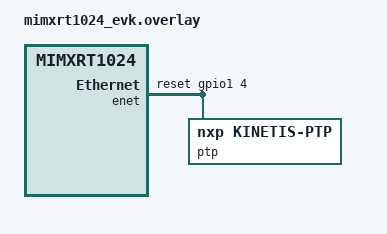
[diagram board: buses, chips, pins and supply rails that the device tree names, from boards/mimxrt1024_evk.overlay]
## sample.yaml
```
sample:
  description: Block upload Test
  name: block_upload_test
common:
  harness: pytest
  tags:
    - golioth
    - socket
    - goliothd
tests:
  sample.golioth.block_upload_test:
    timeout: 180
    extra_args: EXTRA_CONF_FILE="../common/runtime_settings.conf"
    extra_configs:
      - CONFIG_SHELL_BACKEND_SERIAL_RX_RING_BUFFER_SIZE=128
      - CONFIG_SHELL_DEFAULT_TERMINAL_WIDTH=100
      - CONFIG_GOLIOTH_SAMPLE_NRF91_RESET_LOOP_OVERRIDE=y
      - arch:posix:CONFIG_NATIVE_UART_0_ON_STDINOUT=y
      - arch:posix:CONFIG_LOG_BACKEND_NATIVE_POSIX=n
    platform_allow:
      - esp32_devkitc_wrover/esp32/procpu
      - mimxrt1024_evk
      - native_sim
      - native_sim/native/64
      - nrf52840dk/nrf52840
      - nrf9160dk/nrf9160/ns
      - rak5010/nrf52840
      - qemu_x86
```

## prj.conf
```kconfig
# Application
CONFIG_GOLIOTH_SAMPLE_COMMON=y
CONFIG_GOLIOTH_SAMPLE_HARDCODED_CREDENTIALS=y

# Golioth Firmware SDK with all dependencies
CONFIG_GOLIOTH_FIRMWARE_SDK=y
CONFIG_GOLIOTH_STREAM=y

#CONFIG_GOLIOTH_COAP_HOST_URI="coaps://192.168.1.105"

#CONFIG_GOLIOTH_SAMPLE_PSK_ID="test@local"
#CONFIG_GOLIOTH_SAMPLE_PSK="test"
```

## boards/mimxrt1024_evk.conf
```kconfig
CONFIG_GOLIOTH_SAMPLE_DHCP_BIND=y
CONFIG_NET_L2_ETHERNET=y
CONFIG_NET_DHCPV4=y
CONFIG_BUILD_OUTPUT_HEX=y

# Old deprecated driver
CONFIG_ETH_MCUX=y
```

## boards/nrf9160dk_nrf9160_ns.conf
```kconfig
# General config
CONFIG_HEAP_MEM_POOL_SIZE=4096
CONFIG_NEWLIB_LIBC=y

# Networking
CONFIG_NET_SOCKETS_OFFLOAD=y
CONFIG_NET_IPV6=y
CONFIG_NET_IPV6_NBR_CACHE=n
CONFIG_NET_IPV6_MLD=n

# Increase native TLS socket implementation, so that it is chosen instead of
# offloaded nRF91 sockets
CONFIG_NET_SOCKETS_TLS_PRIORITY=35

# Modem library
CONFIG_NRF_MODEM_LIB=y
CONFIG_NRF_MODEM_LIB_ON_FAULT_APPLICATION_SPECIFIC=y

# LTE connectivity with network connection manager
CONFIG_NRF_MODEM_LIB_NET_IF=y
CONFIG_NRF_MODEM_LIB_NET_IF_AUTO_START=y
CONFIG_NRF_MODEM_LIB_NET_IF_AUTO_CONNECT=y
CONFIG_NET_CONNECTION_MANAGER=y
CONFIG_NET_CONNECTION_MANAGER_MONITOR_STACK_SIZE=1024

# Increased sysworkq size, due to LTE connectivity
CONFIG_SYSTEM_WORKQUEUE_STACK_SIZE=2048

# Disable options y-selected by NCS for no good reason
CONFIG_MBEDTLS_KEY_EXCHANGE_DHE_PSK_ENABLED=n
CONFIG_MBEDTLS_KEY_EXCHANGE_DHE_RSA_ENABLED=n

# Generate MCUboot compatible images
CONFIG_BOOTLOADER_MCUBOOT=y
```

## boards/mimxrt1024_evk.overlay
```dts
&enet {
	compatible = "nxp,kinetis-ethernet";
	reg = <0x402D8000 0x628>;
	interrupts = <114 0>;
	interrupt-names = "COMMON";
	pinctrl-0 = <&pinmux_enet>;
	pinctrl-names = "default";
	int-gpios = <&gpio1 22 GPIO_ACTIVE_HIGH>;
	reset-gpios = <&gpio1 4 GPIO_ACTIVE_HIGH>;
	status = "okay";
	phy-addr = <0>;
	ptp: ptp {
		compatible = "nxp,kinetis-ptp";
		status = "okay";
		interrupts = <115 0>;
		interrupt-names = "IEEE1588_TMR";
		pinctrl-0 = <&pinmux_ptp>;
		pinctrl-names = "default";
	};
};

/* Note: USER_LED conflicts with ENET_RST */
&pinmux_enet {
	/delete-node/ group0;
	/delete-node/ group1;
	/delete-node/ group2;

	group0 {
		pinmux = <&iomuxc_gpio_ad_b0_08_enet_ref_clk>;
		bias-disable;
		drive-strength = "r0-6";
		slew-rate = "fast";
		nxp,speed = "50-mhz";
		input-enable;
	};
	group1 {
		pinmux = <&iomuxc_gpio_ad_b0_04_gpio1_io04>;
		drive-strength = "r0-5";
		bias-pull-up;
		bias-pull-up-value = "100k";
		slew-rate = "fast";
		nxp,speed = "100-mhz";
	};
	group2 {
		pinmux = <&iomuxc_gpio_ad_b0_09_enet_rx_data1>,
			<&iomuxc_gpio_ad_b0_11_enet_rx_en>,
			<&iomuxc_gpio_ad_b0_14_enet_tx_data0>,
			<&iomuxc_gpio_ad_b0_15_enet_tx_data1>,
			<&iomuxc_gpio_ad_b0_13_enet_tx_en>,
			<&iomuxc_gpio_ad_b0_12_enet_rx_er>,
			<&iomuxc_gpio_emc_40_enet_mdio>,
			<&iomuxc_gpio_emc_41_enet_mdc>;
		drive-strength = "r0-5";
		bias-pull-up;
		bias-pull-up-value = "100k";
		slew-rate = "fast";
		nxp,speed = "200-mhz";
	};
	group3 {
		pinmux = <&iomuxc_gpio_ad_b1_06_gpio1_io22>;
		drive-strength = "r0-5";
		bias-pull-up;
		bias-pull-up-value = "100k";
		slew-rate = "slow";
		nxp,speed = "100-mhz";
	};
	group4 {
		pinmux = <&iomuxc_gpio_ad_b0_10_enet_rx_data0>;
		drive-strength = "r0-6";
		slew-rate = "slow";
		nxp,speed = "100-mhz";
	};
};
```

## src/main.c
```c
/*
 * Copyright (c) 2023 Golioth, Inc.
 *
 * SPDX-License-Identifier: Apache-2.0
 */

#include <zephyr/logging/log.h>
LOG_MODULE_REGISTER(golioth_block_upload, LOG_LEVEL_DBG);

#include <golioth/client.h>
#include <golioth/stream.h>
#include <samples/common/sample_credentials.h>
#include <samples/common/net_connect.h>
#include <stdlib.h>
#include <string.h>
#include <zcbor_encode.h>
#include <zephyr/drivers/sensor.h>
#include <zephyr/kernel.h>

#include "mooltipass.h"

#define SYNC_TIMEOUT_S 2

struct golioth_client *client;
static K_SEM_DEFINE(connected, 0, 1);

static void on_client_event(struct golioth_client *client,
                            enum golioth_client_event event,
                            void *arg)
{
    bool is_connected = (event == GOLIOTH_CLIENT_EVENT_CONNECTED);
    if (is_connected)
    {
        k_sem_give(&connected);
    }
    LOG_INF("Golioth client %s", is_connected ? "connected" : "disconnected");
}

struct block_upload_source
{
    uint8_t *buf;
    size_t len;
};

static enum golioth_status block_upload_read_chunk(uint32_t block_idx,
                                                   uint8_t *block_buffer,
                                                   size_t *block_size,
                                                   bool *is_last,
                                                   void *arg)
{
    size_t bu_max_block_size = *block_size;
    const struct block_upload_source *bu_source = arg;
    size_t bu_offset = block_idx * bu_max_block_size;
    size_t bu_size = bu_source->len - bu_offset;

    LOG_DBG("block-idx: %u bu_offset: %u bytes_remaining: %u", block_idx, bu_offset, bu_size);

    if (bu_offset >= bu_source->len)
    {
        LOG_ERR("Calculated offset is past end of buffer: %d", bu_offset);
        goto bu_error;
    }

    if (bu_size < 0)
    {
        LOG_ERR("Calculated size for next block is < 0: %d", bu_size);
        goto bu_error;
    }

    if (bu_size <= bu_max_block_size)
    {
        *block_size = bu_size;
        *is_last = true;
    }
    else
    {
        *block_size = bu_max_block_size;
        *is_last = false;
    }

    memcpy(block_buffer, bu_source->buf + bu_offset, *block_size);
    return GOLIOTH_OK;

bu_error:
    *block_size = 0;
    *is_last = true;

    return GOLIOTH_ERR_NO_MORE_DATA;
}

int main(void)
{
    LOG_DBG("Start Golioth stream sample");

    IF_ENABLED(CONFIG_GOLIOTH_SAMPLE_COMMON, (net_connect();))

    /* Note: In production, you would provision unique credentials onto each
     * device. For simplicity, we provide a utility to hardcode credentials as
     * kconfig options in the samples.
     */
    const struct golioth_client_config *client_config = golioth_sample_credentials_get();

    client = golioth_client_create(client_config);
    golioth_client_register_event_callback(client, on_client_event, NULL);

    k_sem_take(&connected, K_FOREVER);

    int counter = 0;

    while (true)
    {
        LOG_INF("Counter: %d", counter);
        if (counter == 3)
        {
            struct block_upload_source bu_ctx = {.buf = (uint8_t *) &mooltipass,
                                                 .len = mooltipass_len};

            int err = golioth_stream_set_blockwise_sync(client,
                                                        "upload",
                                                        GOLIOTH_CONTENT_TYPE_OCTET_STREAM,
                                                        block_upload_read_chunk,
                                                        &bu_ctx);

            if (err)
            {
                LOG_ERR("Block upload error: %d", err);
            }
            else
            {
                LOG_INF("Block upload successful!");
            }
        }

        counter++;
        k_sleep(K_SECONDS(5));
    }

    return 0;
}
```
